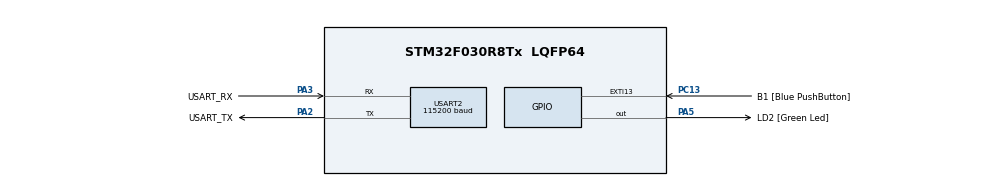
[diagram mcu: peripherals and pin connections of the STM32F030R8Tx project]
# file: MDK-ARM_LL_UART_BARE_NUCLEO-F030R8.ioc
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Mcu.Family=STM32F0
Mcu.Name=STM32F030R8Tx
Mcu.Package=LQFP64
NVIC.USART2_IRQn=true\:0\:0\:false\:false\:true\:true\:true
PA13.GPIO_Label=TMS
PA13.Mode=Serial_Wire
PA13.Signal=SYS_SWDIO
PA14.GPIO_Label=TCK
PA14.Mode=Serial_Wire
PA14.Signal=SYS_SWCLK
PA2.GPIO_Label=USART_TX
PA2.GPIO_Mode=GPIO_MODE_AF_PP
PA2.GPIO_PuPd=GPIO_NOPULL
PA2.GPIO_Speed=GPIO_SPEED_FREQ_LOW
PA2.Mode=Asynchronous
PA2.Signal=USART2_TX
PA3.GPIO_Label=USART_RX
PA3.GPIO_Mode=GPIO_MODE_AF_PP
PA3.GPIO_PuPd=GPIO_NOPULL
PA3.GPIO_Speed=GPIO_SPEED_FREQ_LOW
PA3.Mode=Asynchronous
PA3.Signal=USART2_RX
PA5.GPIO_Label=LD2 [Green Led]
PA5.GPIO_Mode=GPIO_MODE_OUTPUT_PP
PA5.GPIO_PuPd=GPIO_NOPULL
PA5.GPIO_Speed=GPIO_SPEED_FREQ_LOW
PA5.Signal=GPIO_Output
PC13.GPIO_Label=B1 [Blue PushButton]
PC13.GPIO_ModeDefaultEXTI=GPIO_MODE_IT_FALLING
PC13.Signal=GPXTI13
PC14-OSC32_IN.Mode=LSE-External-Oscillator
PC14-OSC32_IN.Signal=RCC_OSC32_IN
PC15-OSC32_OUT.Mode=LSE-External-Oscillator
PC15-OSC32_OUT.Signal=RCC_OSC32_OUT
PF0-OSC_IN.Mode=HSE-External-Clock-Source
PF0-OSC_IN.Signal=RCC_OSC_IN
PF1-OSC_OUT.Signal=RCC_OSC_OUT
ProjectManager.HeapSize=0x200
ProjectManager.StackSize=0x400
ProjectManager.TargetToolchain=MDK-ARM V5.27
RCC.AHBFreq_Value=48000000
RCC.APB1Freq_Value=48000000
RCC.APB1TimFreq_Value=48000000
RCC.HCLKFreq_Value=48000000
RCC.PLLMUL=RCC_PLL_MUL12
RCC.SYSCLKFreq_VALUE=48000000
RCC.SYSCLKSource=RCC_SYSCLKSOURCE_PLLCLK
USART2.BaudRate=115200
USART2.VirtualMode-Asynchronous=VM_ASYNC
board=NUCLEO-F030R8

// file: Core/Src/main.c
/* USER CODE BEGIN Header */
/**
  ******************************************************************************
  * @file           : main.c
  * @brief          : Main program body
  ******************************************************************************
  * @attention
  *
  * <h2><center>&copy; Copyright (c) 2020 STMicroelectronics.
  * All rights reserved.</center></h2>
  *
  * This software component is licensed by ST under BSD 3-Clause license,
  * the "License"; You may not use this file except in compliance with the
  * License. You may obtain a copy of the License at:
  *                        opensource.org/licenses/BSD-3-Clause
  *
  ******************************************************************************
  */
/* USER CODE END Header */
#include "main.h"

/* USER CODE BEGIN Includes */
#include "trice.h"
#include "triceBareFifo.h"
#include "triceInterfaceUART.h"
/* USER CODE END Includes */

/* USER CODE BEGIN PV */
int milliSecond = 0;
/* USER CODE END PV */

void SystemClock_Config(void);
static void MX_GPIO_Init(void);
static void MX_USART2_UART_Init(void);

int main(void)
{
  /* USER CODE BEGIN 1 */
#ifdef ENCRYPT
    InitXteaTable();
#endif
  /* USER CODE END 1 */

  /* MCU Configuration--------------------------------------------------------*/

  /* Reset of all peripherals, Initializes the Flash interface and the Systick. */

  LL_APB1_GRP2_EnableClock(LL_APB1_GRP2_PERIPH_SYSCFG);
  LL_APB1_GRP1_EnableClock(LL_APB1_GRP1_PERIPH_PWR);

  /* System interrupt init*/

  /* Configure the system clock */
  SystemClock_Config();

  /* USER CODE BEGIN SysInit */
    SysTick->CTRL |= SysTick_CTRL_TICKINT_Msk; // enable SysTick interrupt
  /* USER CODE END SysInit */

  /* Initialize all configured peripherals */
  MX_GPIO_Init();
  MX_USART2_UART_Init();
  /* USER CODE BEGIN 2 */
  LL_USART_EnableIT_RXNE(TRICE_UART); // enable UART2 interrupt
    TRICE0( Id(20913), "s:                                        \ns:   ARM-MDK_LL_UART_BARE_NUCLEO-F030RB   \ns:                                        \n\n");
  /* USER CODE END 2 */

  /* Infinite loop */
  /* USER CODE BEGIN WHILE */
  while (1)
  {
        static int lastTricesTime = 0;
      { // every few milliseconds
            if( milliSecond >= lastTricesTime + 100 ){
                static int index = 0;
                TRICE16_1( Id(41488),"MSG: triceBareFifoMaxDepth = %d\n", triceBareFifoMaxDepth );
                triceCheckSet(index%10);
                index++;
                lastTricesTime = milliSecond;
          }
      }
    /* USER CODE END WHILE */

    /* USER CODE BEGIN 3 */
        { // check every ms
            static int lastMs = 0;
            if( milliSecond >= lastMs + 1 ){
                lastMs = milliSecond;
                triceServeBareFifoToBytesBuffer();
            }
        }
  }
  /* USER CODE END 3 */
}

void SystemClock_Config(void)
{
  LL_FLASH_SetLatency(LL_FLASH_LATENCY_1);
  while(LL_FLASH_GetLatency() != LL_FLASH_LATENCY_1)
  {
  }
  LL_RCC_HSI_Enable();

   /* Wait till HSI is ready */
  while(LL_RCC_HSI_IsReady() != 1)
  {

  }
  LL_RCC_HSI_SetCalibTrimming(16);
  LL_RCC_PLL_ConfigDomain_SYS(LL_RCC_PLLSOURCE_HSI_DIV_2, LL_RCC_PLL_MUL_12);
  LL_RCC_PLL_Enable();

   /* Wait till PLL is ready */
  while(LL_RCC_PLL_IsReady() != 1)
  {

  }
  LL_RCC_SetAHBPrescaler(LL_RCC_SYSCLK_DIV_1);
  LL_RCC_SetAPB1Prescaler(LL_RCC_APB1_DIV_1);
  LL_RCC_SetSysClkSource(LL_RCC_SYS_CLKSOURCE_PLL);

   /* Wait till System clock is ready */
  while(LL_RCC_GetSysClkSource() != LL_RCC_SYS_CLKSOURCE_STATUS_PLL)
  {

  }
  LL_Init1msTick(48000000);
  LL_SetSystemCoreClock(48000000);
}

static void MX_USART2_UART_Init(void)
{

  LL_USART_InitTypeDef USART_InitStruct = {0};

  LL_GPIO_InitTypeDef GPIO_InitStruct = {0};

  /* Peripheral clock enable */
  LL_APB1_GRP1_EnableClock(LL_APB1_GRP1_PERIPH_USART2);

  LL_AHB1_GRP1_EnableClock(LL_AHB1_GRP1_PERIPH_GPIOA);
  /**USART2 GPIO Configuration
  PA2   ------> USART2_TX
  PA3   ------> USART2_RX
  */
  GPIO_InitStruct.Pin = USART_TX_Pin;
  GPIO_InitStruct.Mode = LL_GPIO_MODE_ALTERNATE;
  GPIO_InitStruct.Speed = LL_GPIO_SPEED_FREQ_LOW;
  GPIO_InitStruct.OutputType = LL_GPIO_OUTPUT_PUSHPULL;
  GPIO_InitStruct.Pull = LL_GPIO_PULL_NO;
  GPIO_InitStruct.Alternate = LL_GPIO_AF_1;
  LL_GPIO_Init(USART_TX_GPIO_Port, &GPIO_InitStruct);

  GPIO_InitStruct.Pin = USART_RX_Pin;
  GPIO_InitStruct.Mode = LL_GPIO_MODE_ALTERNATE;
  GPIO_InitStruct.Speed = LL_GPIO_SPEED_FREQ_LOW;
  GPIO_InitStruct.OutputType = LL_GPIO_OUTPUT_PUSHPULL;
  GPIO_InitStruct.Pull = LL_GPIO_PULL_NO;
  GPIO_InitStruct.Alternate = LL_GPIO_AF_1;
  LL_GPIO_Init(USART_RX_GPIO_Port, &GPIO_InitStruct);

  /* USART2 interrupt Init */
  NVIC_SetPriority(USART2_IRQn, 0);
  NVIC_EnableIRQ(USART2_IRQn);

  USART_InitStruct.BaudRate = 115200;
  USART_InitStruct.DataWidth = LL_USART_DATAWIDTH_8B;
  USART_InitStruct.StopBits = LL_USART_STOPBITS_1;
  USART_InitStruct.Parity = LL_USART_PARITY_NONE;
  USART_InitStruct.TransferDirection = LL_USART_DIRECTION_TX_RX;
  USART_InitStruct.HardwareFlowControl = LL_USART_HWCONTROL_NONE;
  USART_InitStruct.OverSampling = LL_USART_OVERSAMPLING_16;
  LL_USART_Init(USART2, &USART_InitStruct);
  LL_USART_DisableIT_CTS(USART2);
  LL_USART_ConfigAsyncMode(USART2);
  LL_USART_Enable(USART2);

}

static void MX_GPIO_Init(void)
{
  LL_EXTI_InitTypeDef EXTI_InitStruct = {0};
  LL_GPIO_InitTypeDef GPIO_InitStruct = {0};

  /* GPIO Ports Clock Enable */
  LL_AHB1_GRP1_EnableClock(LL_AHB1_GRP1_PERIPH_GPIOC);
  LL_AHB1_GRP1_EnableClock(LL_AHB1_GRP1_PERIPH_GPIOF);
  LL_AHB1_GRP1_EnableClock(LL_AHB1_GRP1_PERIPH_GPIOA);

  /**/
  LL_GPIO_ResetOutputPin(LD2_GPIO_Port, LD2_Pin);

  /**/
  LL_SYSCFG_SetEXTISource(LL_SYSCFG_EXTI_PORTC, LL_SYSCFG_EXTI_LINE13);

  /**/
  LL_GPIO_SetPinPull(B1_GPIO_Port, B1_Pin, LL_GPIO_PULL_NO);

  /**/
  LL_GPIO_SetPinMode(B1_GPIO_Port, B1_Pin, LL_GPIO_MODE_INPUT);

  /**/
  EXTI_InitStruct.Line_0_31 = LL_EXTI_LINE_13;
  EXTI_InitStruct.LineCommand = ENABLE;
  EXTI_InitStruct.Mode = LL_EXTI_MODE_IT;
  EXTI_InitStruct.Trigger = LL_EXTI_TRIGGER_FALLING;
  LL_EXTI_Init(&EXTI_InitStruct);

  /**/
  GPIO_InitStruct.Pin = LD2_Pin;
  GPIO_InitStruct.Mode = LL_GPIO_MODE_OUTPUT;
  GPIO_InitStruct.Speed = LL_GPIO_SPEED_FREQ_LOW;
  GPIO_InitStruct.OutputType = LL_GPIO_OUTPUT_PUSHPULL;
  GPIO_InitStruct.Pull = LL_GPIO_PULL_NO;
  LL_GPIO_Init(LD2_GPIO_Port, &GPIO_InitStruct);

}

void Error_Handler(void)
{
}

/************************ (C) COPYRIGHT STMicroelectronics *****END OF FILE****/
